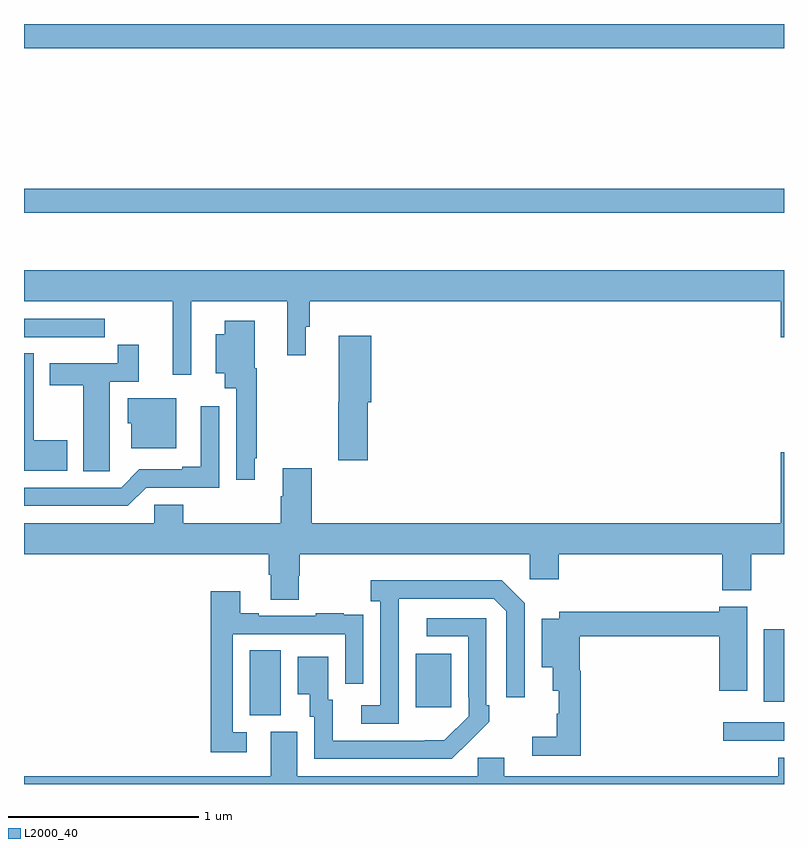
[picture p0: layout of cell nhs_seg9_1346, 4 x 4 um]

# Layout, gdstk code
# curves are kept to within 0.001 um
import gdstk
lib = gdstk.Library(unit=1e-6, precision=1e-09)
def R(c, l, rs):  # rectangles x0, y0, x1, y1
    for r in rs: c.add(gdstk.rectangle(r[:2], r[2:], *l))
def P(c, l, *ps):  # polygons
    for p in ps: c.add(gdstk.Polygon(p, *l))
L2000_40 = (2000, 40)

nhs_seg9_1346 = lib.new_cell('nhs_seg9_1346')
R(nhs_seg9_1346, L2000_40, [(188.679,1240.728,189,1240.824), (186.188,1240.861,186.352,1241.204), (187.061,1240.905,187.249,1241.185), (188.894,1240.934,189,1241.314), (185,1243.506,189,1243.634), (185,1244.372,189,1244.5)])
P(nhs_seg9_1346, L2000_40, [(185.88,1243.04),(186.386,1243.04),(186.386,1242.756),(186.484,1242.756),(186.484,1242.906),(186.503,1242.906),(186.503,1243.04),(188.984,1243.04),(188.984,1242.852),(189,1242.852),(189,1243.204),(185,1243.204),(185,1243.04),(185.783,1243.04),(185.783,1242.654),(185.88,1242.654)],
  [(185.312,1242.852),(185.425,1242.852),(185.425,1242.948),(185,1242.948),(185,1242.852),(185.146,1242.852),(185.146,1242.851),(185.312,1242.851)],
  [(186.214,1242.214),(186.226,1242.214),(186.226,1242.688),(186.214,1242.688),(186.214,1242.937),(186.056,1242.937),(186.056,1242.868),(186.008,1242.868),(186.008,1242.662),(186.056,1242.662),(186.056,1242.584),(186.117,1242.584),(186.117,1242.102),(186.214,1242.102)],
  [(186.809,1242.51),(186.827,1242.51),(186.827,1242.859),(186.656,1242.859),(186.656,1242.51),(186.655,1242.51),(186.655,1242.204),(186.809,1242.204)],
  [(185.451,1242.256),(185.452,1242.256),(185.452,1242.618),(185.603,1242.618),(185.603,1242.811),(185.494,1242.811),(185.494,1242.714),(185.135,1242.714),(185.135,1242.598),(185.312,1242.598),(185.312,1242.145),(185.451,1242.145)],
  [(185.227,1242.309),(185.05,1242.309),(185.05,1242.767),(185,1242.767),(185,1242.149),(185.227,1242.149)],
  [(185.8,1242.529),(185.546,1242.529),(185.546,1242.399),(185.564,1242.399),(185.564,1242.266),(185.8,1242.266)],
  [(185.643,1242.06),(186.027,1242.06),(186.027,1242.487),(185.93,1242.487),(185.93,1242.169),(185.834,1242.169),(185.834,1242.156),(185.607,1242.156),(185.511,1242.06),(185,1242.06),(185,1241.964),(185.547,1241.964)],
  [(186.447,1241.595),(186.452,1241.595),(186.452,1241.708),(187.662,1241.708),(187.662,1241.577),(187.814,1241.577),(187.814,1241.708),(188.675,1241.708),(188.675,1241.519),(188.827,1241.519),(188.827,1241.708),(189,1241.708),(189,1242.247),(188.984,1242.247),(188.984,1241.872),(186.515,1241.872),(186.515,1242.163),(186.362,1242.163),(186.362,1242.014),(186.35,1242.014),(186.35,1241.872),(185.837,1241.872),(185.837,1241.97),(185.685,1241.97),(185.685,1241.872),(185,1241.872),(185,1241.708),(186.287,1241.708),(186.287,1241.602),(186.299,1241.602),(186.299,1241.47),(186.447,1241.47)],
  [(186.972,1241.475),(187.473,1241.475),(187.539,1241.409),(187.539,1240.956),(187.635,1240.956),(187.635,1241.451),(187.514,1241.572),(186.825,1241.572),(186.825,1241.462),(186.876,1241.462),(186.876,1240.914),(186.774,1240.914),(186.774,1240.818),(186.972,1240.818)],
  [(186.172,1240.773),(186.099,1240.773),(186.099,1241.289),(186.69,1241.289),(186.69,1241.028),(186.786,1241.028),(186.786,1241.282),(186.785,1241.282),(186.785,1241.391),(186.683,1241.391),(186.683,1241.398),(186.535,1241.398),(186.535,1241.385),(186.235,1241.385),(186.235,1241.398),(186.139,1241.398),(186.139,1241.515),(185.983,1241.515),(185.983,1240.668),(186.172,1240.668)],
  [(187.931,1241.095),(187.925,1241.095),(187.925,1241.278),(188.66,1241.278),(188.66,1240.992),(188.806,1240.992),(188.806,1241.434),(188.66,1241.434),(188.66,1241.407),(187.818,1241.407),(187.818,1241.371),(187.724,1241.371),(187.724,1241.114),(187.784,1241.114),(187.784,1240.991),(187.814,1240.991),(187.814,1240.869),(187.803,1240.869),(187.803,1240.749),(187.674,1240.749),(187.674,1240.65),(187.931,1240.65)],
  [(187.343,1240.723),(187.344,1240.722),(187.449,1240.827),(187.449,1240.915),(187.434,1240.915),(187.434,1241.373),(187.119,1241.373),(187.119,1241.277),(187.338,1241.277),(187.338,1240.957),(187.341,1240.957),(187.341,1240.857),(187.213,1240.729),(186.625,1240.728),(186.625,1240.944),(186.601,1240.944),(186.601,1241.17),(186.44,1241.17),(186.44,1240.973),(186.503,1240.973),(186.503,1240.854),(186.528,1240.854),(186.528,1240.632),(187.252,1240.632)],
  [(189,1240.639),(188.969,1240.639),(188.969,1240.54),(187.528,1240.54),(187.528,1240.638),(187.389,1240.638),(187.389,1240.54),(186.439,1240.54),(186.439,1240.776),(186.299,1240.776),(186.299,1240.54),(185,1240.54),(185,1240.5),(189,1240.5)])

lib.write_gds('nhs_seg9_1346.gds')
